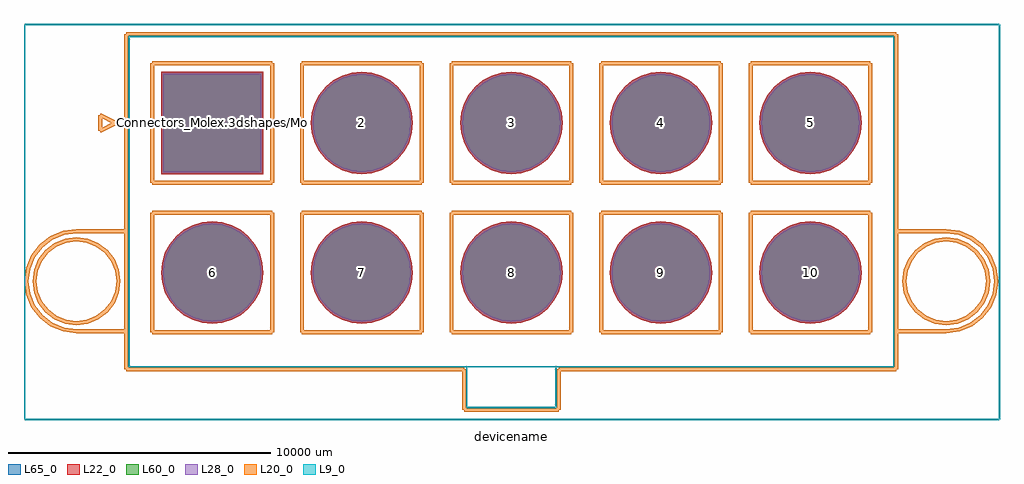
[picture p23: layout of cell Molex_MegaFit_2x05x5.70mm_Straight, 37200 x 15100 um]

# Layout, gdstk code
import gdstk
lib = gdstk.Library(unit=1e-6, precision=1e-09)
def R(c, l, rs):  # rectangles x0, y0, x1, y1
    for r in rs: c.add(gdstk.rectangle(r[:2], r[2:], *l))
def P(c, l, *ps):  # polygons
    for p in ps: c.add(gdstk.Polygon(p, *l))
L9_0 = (9, 0)
L20_0 = (20, 0)
L22_0 = (22, 0)
L28_0 = (28, 0)
L60_0 = (60, 0)
L65_0 = (65, 0)

molex_megafit_2x05x5_70m = lib.new_cell('Molex_MegaFit_2x05x5.70mm_Straight')
R(molex_megafit_2x05x5_70m, L22_0, [(-1950,-1950,1950,1950)])
P(molex_megafit_2x05x5_70m, L22_0, [(24750,-5700),(24712.531,-5319.574),(24601.565,-4953.767),(24421.366,-4616.638),(24178.858,-4321.142),(23883.362,-4078.634),(23546.233,-3898.435),(23180.426,-3787.469),(22800,-3750),(22419.574,-3787.469),(22053.767,-3898.435),(21716.638,-4078.634),(21421.142,-4321.142),(21178.634,-4616.638),(20998.435,-4953.767),(20887.469,-5319.574),(20850,-5700),(20887.469,-6080.426),(20998.435,-6446.233),(21178.634,-6783.362),(21421.142,-7078.858),(21716.638,-7321.366),(22053.767,-7501.565),(22419.574,-7612.531),(22800,-7650),(23180.426,-7612.531),(23546.233,-7501.565),(23883.362,-7321.366),(24178.858,-7078.858),(24421.366,-6783.362),(24601.565,-6446.233),(24712.531,-6080.426)],
  [(19050,-5700),(19012.531,-5319.574),(18901.565,-4953.767),(18721.366,-4616.638),(18478.858,-4321.142),(18183.362,-4078.634),(17846.233,-3898.435),(17480.426,-3787.469),(17100,-3750),(16719.574,-3787.469),(16353.767,-3898.435),(16016.638,-4078.634),(15721.142,-4321.142),(15478.634,-4616.638),(15298.435,-4953.767),(15187.469,-5319.574),(15150,-5700),(15187.469,-6080.426),(15298.435,-6446.233),(15478.634,-6783.362),(15721.142,-7078.858),(16016.638,-7321.366),(16353.767,-7501.565),(16719.574,-7612.531),(17100,-7650),(17480.426,-7612.531),(17846.233,-7501.565),(18183.362,-7321.366),(18478.858,-7078.858),(18721.366,-6783.362),(18901.565,-6446.233),(19012.531,-6080.426)],
  [(13350,-5700),(13312.531,-5319.574),(13201.565,-4953.767),(13021.366,-4616.638),(12778.858,-4321.142),(12483.362,-4078.634),(12146.233,-3898.435),(11780.426,-3787.469),(11400,-3750),(11019.574,-3787.469),(10653.767,-3898.435),(10316.638,-4078.634),(10021.142,-4321.142),(9778.634,-4616.638),(9598.435,-4953.767),(9487.469,-5319.574),(9450,-5700),(9487.469,-6080.426),(9598.435,-6446.233),(9778.634,-6783.362),(10021.142,-7078.858),(10316.638,-7321.366),(10653.767,-7501.565),(11019.574,-7612.531),(11400,-7650),(11780.426,-7612.531),(12146.233,-7501.565),(12483.362,-7321.366),(12778.858,-7078.858),(13021.366,-6783.362),(13201.565,-6446.233),(13312.531,-6080.426)],
  [(7650,-5700),(7612.531,-5319.574),(7501.565,-4953.767),(7321.366,-4616.638),(7078.858,-4321.142),(6783.362,-4078.634),(6446.233,-3898.435),(6080.426,-3787.469),(5700,-3750),(5319.574,-3787.469),(4953.767,-3898.435),(4616.638,-4078.634),(4321.142,-4321.142),(4078.634,-4616.638),(3898.435,-4953.767),(3787.469,-5319.574),(3750,-5700),(3787.469,-6080.426),(3898.435,-6446.233),(4078.634,-6783.362),(4321.142,-7078.858),(4616.638,-7321.366),(4953.767,-7501.565),(5319.574,-7612.531),(5700,-7650),(6080.426,-7612.531),(6446.233,-7501.565),(6783.362,-7321.366),(7078.858,-7078.858),(7321.366,-6783.362),(7501.565,-6446.233),(7612.531,-6080.426)],
  [(1950,-5700),(1912.531,-5319.574),(1801.565,-4953.767),(1621.366,-4616.638),(1378.858,-4321.142),(1083.362,-4078.634),(746.233,-3898.435),(380.426,-3787.469),(0,-3750),(-380.426,-3787.469),(-746.233,-3898.435),(-1083.362,-4078.634),(-1378.858,-4321.142),(-1621.366,-4616.638),(-1801.565,-4953.767),(-1912.531,-5319.574),(-1950,-5700),(-1912.531,-6080.426),(-1801.565,-6446.233),(-1621.366,-6783.362),(-1378.858,-7078.858),(-1083.362,-7321.366),(-746.233,-7501.565),(-380.426,-7612.531),(0,-7650),(380.426,-7612.531),(746.233,-7501.565),(1083.362,-7321.366),(1378.858,-7078.858),(1621.366,-6783.362),(1801.565,-6446.233),(1912.531,-6080.426)],
  [(24750,0),(24712.531,380.426),(24601.565,746.233),(24421.366,1083.362),(24178.858,1378.858),(23883.362,1621.366),(23546.233,1801.565),(23180.426,1912.531),(22800,1950),(22419.574,1912.531),(22053.767,1801.565),(21716.638,1621.366),(21421.142,1378.858),(21178.634,1083.362),(20998.435,746.233),(20887.469,380.426),(20850,0),(20887.469,-380.426),(20998.435,-746.233),(21178.634,-1083.362),(21421.142,-1378.858),(21716.638,-1621.366),(22053.767,-1801.565),(22419.574,-1912.531),(22800,-1950),(23180.426,-1912.531),(23546.233,-1801.565),(23883.362,-1621.366),(24178.858,-1378.858),(24421.366,-1083.362),(24601.565,-746.233),(24712.531,-380.426)],
  [(19050,0),(19012.531,380.426),(18901.565,746.233),(18721.366,1083.362),(18478.858,1378.858),(18183.362,1621.366),(17846.233,1801.565),(17480.426,1912.531),(17100,1950),(16719.574,1912.531),(16353.767,1801.565),(16016.638,1621.366),(15721.142,1378.858),(15478.634,1083.362),(15298.435,746.233),(15187.469,380.426),(15150,0),(15187.469,-380.426),(15298.435,-746.233),(15478.634,-1083.362),(15721.142,-1378.858),(16016.638,-1621.366),(16353.767,-1801.565),(16719.574,-1912.531),(17100,-1950),(17480.426,-1912.531),(17846.233,-1801.565),(18183.362,-1621.366),(18478.858,-1378.858),(18721.366,-1083.362),(18901.565,-746.233),(19012.531,-380.426)],
  [(13350,0),(13312.531,380.426),(13201.565,746.233),(13021.366,1083.362),(12778.858,1378.858),(12483.362,1621.366),(12146.233,1801.565),(11780.426,1912.531),(11400,1950),(11019.574,1912.531),(10653.767,1801.565),(10316.638,1621.366),(10021.142,1378.858),(9778.634,1083.362),(9598.435,746.233),(9487.469,380.426),(9450,0),(9487.469,-380.426),(9598.435,-746.233),(9778.634,-1083.362),(10021.142,-1378.858),(10316.638,-1621.366),(10653.767,-1801.565),(11019.574,-1912.531),(11400,-1950),(11780.426,-1912.531),(12146.233,-1801.565),(12483.362,-1621.366),(12778.858,-1378.858),(13021.366,-1083.362),(13201.565,-746.233),(13312.531,-380.426)],
  [(7650,0),(7612.531,380.426),(7501.565,746.233),(7321.366,1083.362),(7078.858,1378.858),(6783.362,1621.366),(6446.233,1801.565),(6080.426,1912.531),(5700,1950),(5319.574,1912.531),(4953.767,1801.565),(4616.638,1621.366),(4321.142,1378.858),(4078.634,1083.362),(3898.435,746.233),(3787.469,380.426),(3750,0),(3787.469,-380.426),(3898.435,-746.233),(4078.634,-1083.362),(4321.142,-1378.858),(4616.638,-1621.366),(4953.767,-1801.565),(5319.574,-1912.531),(5700,-1950),(6080.426,-1912.531),(6446.233,-1801.565),(6783.362,-1621.366),(7078.858,-1378.858),(7321.366,-1083.362),(7501.565,-746.233),(7612.531,-380.426)])
R(molex_megafit_2x05x5_70m, L28_0, [(-1875,-1875,1875,1875)])
P(molex_megafit_2x05x5_70m, L28_0, [(24675,-5700),(24638.972,-5334.206),(24532.274,-4982.469),(24359.006,-4658.306),(24125.825,-4374.175),(23841.694,-4140.994),(23517.531,-3967.726),(23165.794,-3861.028),(22800,-3825),(22434.206,-3861.028),(22082.469,-3967.726),(21758.306,-4140.994),(21474.175,-4374.175),(21240.994,-4658.306),(21067.726,-4982.469),(20961.028,-5334.206),(20925,-5700),(20961.028,-6065.794),(21067.726,-6417.531),(21240.994,-6741.694),(21474.175,-7025.825),(21758.306,-7259.006),(22082.469,-7432.274),(22434.206,-7538.972),(22800,-7575),(23165.794,-7538.972),(23517.531,-7432.274),(23841.694,-7259.006),(24125.825,-7025.825),(24359.006,-6741.694),(24532.274,-6417.531),(24638.972,-6065.794)],
  [(18975,-5700),(18938.972,-5334.206),(18832.274,-4982.469),(18659.006,-4658.306),(18425.825,-4374.175),(18141.694,-4140.994),(17817.531,-3967.726),(17465.794,-3861.028),(17100,-3825),(16734.206,-3861.028),(16382.469,-3967.726),(16058.306,-4140.994),(15774.175,-4374.175),(15540.994,-4658.306),(15367.726,-4982.469),(15261.028,-5334.206),(15225,-5700),(15261.028,-6065.794),(15367.726,-6417.531),(15540.994,-6741.694),(15774.175,-7025.825),(16058.306,-7259.006),(16382.469,-7432.274),(16734.206,-7538.972),(17100,-7575),(17465.794,-7538.972),(17817.531,-7432.274),(18141.694,-7259.006),(18425.825,-7025.825),(18659.006,-6741.694),(18832.274,-6417.531),(18938.972,-6065.794)],
  [(13275,-5700),(13238.972,-5334.206),(13132.274,-4982.469),(12959.006,-4658.306),(12725.825,-4374.175),(12441.694,-4140.994),(12117.531,-3967.726),(11765.794,-3861.028),(11400,-3825),(11034.206,-3861.028),(10682.469,-3967.726),(10358.306,-4140.994),(10074.175,-4374.175),(9840.994,-4658.306),(9667.726,-4982.469),(9561.028,-5334.206),(9525,-5700),(9561.028,-6065.794),(9667.726,-6417.531),(9840.994,-6741.694),(10074.175,-7025.825),(10358.306,-7259.006),(10682.469,-7432.274),(11034.206,-7538.972),(11400,-7575),(11765.794,-7538.972),(12117.531,-7432.274),(12441.694,-7259.006),(12725.825,-7025.825),(12959.006,-6741.694),(13132.274,-6417.531),(13238.972,-6065.794)],
  [(7575,-5700),(7538.972,-5334.206),(7432.274,-4982.469),(7259.006,-4658.306),(7025.825,-4374.175),(6741.694,-4140.994),(6417.531,-3967.726),(6065.794,-3861.028),(5700,-3825),(5334.206,-3861.028),(4982.469,-3967.726),(4658.306,-4140.994),(4374.175,-4374.175),(4140.994,-4658.306),(3967.726,-4982.469),(3861.028,-5334.206),(3825,-5700),(3861.028,-6065.794),(3967.726,-6417.531),(4140.994,-6741.694),(4374.175,-7025.825),(4658.306,-7259.006),(4982.469,-7432.274),(5334.206,-7538.972),(5700,-7575),(6065.794,-7538.972),(6417.531,-7432.274),(6741.694,-7259.006),(7025.825,-7025.825),(7259.006,-6741.694),(7432.274,-6417.531),(7538.972,-6065.794)],
  [(1875,-5700),(1838.972,-5334.206),(1732.274,-4982.469),(1559.006,-4658.306),(1325.825,-4374.175),(1041.694,-4140.994),(717.531,-3967.726),(365.794,-3861.028),(0,-3825),(-365.794,-3861.028),(-717.531,-3967.726),(-1041.694,-4140.994),(-1325.825,-4374.175),(-1559.006,-4658.306),(-1732.274,-4982.469),(-1838.972,-5334.206),(-1875,-5700),(-1838.972,-6065.794),(-1732.274,-6417.531),(-1559.006,-6741.694),(-1325.825,-7025.825),(-1041.694,-7259.006),(-717.531,-7432.274),(-365.794,-7538.972),(0,-7575),(365.794,-7538.972),(717.531,-7432.274),(1041.694,-7259.006),(1325.825,-7025.825),(1559.006,-6741.694),(1732.274,-6417.531),(1838.972,-6065.794)],
  [(24675,0),(24638.972,365.794),(24532.274,717.531),(24359.006,1041.694),(24125.825,1325.825),(23841.694,1559.006),(23517.531,1732.274),(23165.794,1838.972),(22800,1875),(22434.206,1838.972),(22082.469,1732.274),(21758.306,1559.006),(21474.175,1325.825),(21240.994,1041.694),(21067.726,717.531),(20961.028,365.794),(20925,0),(20961.028,-365.794),(21067.726,-717.531),(21240.994,-1041.694),(21474.175,-1325.825),(21758.306,-1559.006),(22082.469,-1732.274),(22434.206,-1838.972),(22800,-1875),(23165.794,-1838.972),(23517.531,-1732.274),(23841.694,-1559.006),(24125.825,-1325.825),(24359.006,-1041.694),(24532.274,-717.531),(24638.972,-365.794)],
  [(18975,0),(18938.972,365.794),(18832.274,717.531),(18659.006,1041.694),(18425.825,1325.825),(18141.694,1559.006),(17817.531,1732.274),(17465.794,1838.972),(17100,1875),(16734.206,1838.972),(16382.469,1732.274),(16058.306,1559.006),(15774.175,1325.825),(15540.994,1041.694),(15367.726,717.531),(15261.028,365.794),(15225,0),(15261.028,-365.794),(15367.726,-717.531),(15540.994,-1041.694),(15774.175,-1325.825),(16058.306,-1559.006),(16382.469,-1732.274),(16734.206,-1838.972),(17100,-1875),(17465.794,-1838.972),(17817.531,-1732.274),(18141.694,-1559.006),(18425.825,-1325.825),(18659.006,-1041.694),(18832.274,-717.531),(18938.972,-365.794)],
  [(13275,0),(13238.972,365.794),(13132.274,717.531),(12959.006,1041.694),(12725.825,1325.825),(12441.694,1559.006),(12117.531,1732.274),(11765.794,1838.972),(11400,1875),(11034.206,1838.972),(10682.469,1732.274),(10358.306,1559.006),(10074.175,1325.825),(9840.994,1041.694),(9667.726,717.531),(9561.028,365.794),(9525,0),(9561.028,-365.794),(9667.726,-717.531),(9840.994,-1041.694),(10074.175,-1325.825),(10358.306,-1559.006),(10682.469,-1732.274),(11034.206,-1838.972),(11400,-1875),(11765.794,-1838.972),(12117.531,-1732.274),(12441.694,-1559.006),(12725.825,-1325.825),(12959.006,-1041.694),(13132.274,-717.531),(13238.972,-365.794)],
  [(7575,0),(7538.972,365.794),(7432.274,717.531),(7259.006,1041.694),(7025.825,1325.825),(6741.694,1559.006),(6417.531,1732.274),(6065.794,1838.972),(5700,1875),(5334.206,1838.972),(4982.469,1732.274),(4658.306,1559.006),(4374.175,1325.825),(4140.994,1041.694),(3967.726,717.531),(3861.028,365.794),(3825,0),(3861.028,-365.794),(3967.726,-717.531),(4140.994,-1041.694),(4374.175,-1325.825),(4658.306,-1559.006),(4982.469,-1732.274),(5334.206,-1838.972),(5700,-1875),(6065.794,-1838.972),(6417.531,-1732.274),(6741.694,-1559.006),(7025.825,-1325.825),(7259.006,-1041.694),(7432.274,-717.531),(7538.972,-365.794)])
R(molex_megafit_2x05x5_70m, L60_0, [(-1875,-1875,1875,1875)])
P(molex_megafit_2x05x5_70m, L60_0, [(24675,-5700),(24638.972,-5334.206),(24532.274,-4982.469),(24359.006,-4658.306),(24125.825,-4374.175),(23841.694,-4140.994),(23517.531,-3967.726),(23165.794,-3861.028),(22800,-3825),(22434.206,-3861.028),(22082.469,-3967.726),(21758.306,-4140.994),(21474.175,-4374.175),(21240.994,-4658.306),(21067.726,-4982.469),(20961.028,-5334.206),(20925,-5700),(20961.028,-6065.794),(21067.726,-6417.531),(21240.994,-6741.694),(21474.175,-7025.825),(21758.306,-7259.006),(22082.469,-7432.274),(22434.206,-7538.972),(22800,-7575),(23165.794,-7538.972),(23517.531,-7432.274),(23841.694,-7259.006),(24125.825,-7025.825),(24359.006,-6741.694),(24532.274,-6417.531),(24638.972,-6065.794)],
  [(18975,-5700),(18938.972,-5334.206),(18832.274,-4982.469),(18659.006,-4658.306),(18425.825,-4374.175),(18141.694,-4140.994),(17817.531,-3967.726),(17465.794,-3861.028),(17100,-3825),(16734.206,-3861.028),(16382.469,-3967.726),(16058.306,-4140.994),(15774.175,-4374.175),(15540.994,-4658.306),(15367.726,-4982.469),(15261.028,-5334.206),(15225,-5700),(15261.028,-6065.794),(15367.726,-6417.531),(15540.994,-6741.694),(15774.175,-7025.825),(16058.306,-7259.006),(16382.469,-7432.274),(16734.206,-7538.972),(17100,-7575),(17465.794,-7538.972),(17817.531,-7432.274),(18141.694,-7259.006),(18425.825,-7025.825),(18659.006,-6741.694),(18832.274,-6417.531),(18938.972,-6065.794)],
  [(13275,-5700),(13238.972,-5334.206),(13132.274,-4982.469),(12959.006,-4658.306),(12725.825,-4374.175),(12441.694,-4140.994),(12117.531,-3967.726),(11765.794,-3861.028),(11400,-3825),(11034.206,-3861.028),(10682.469,-3967.726),(10358.306,-4140.994),(10074.175,-4374.175),(9840.994,-4658.306),(9667.726,-4982.469),(9561.028,-5334.206),(9525,-5700),(9561.028,-6065.794),(9667.726,-6417.531),(9840.994,-6741.694),(10074.175,-7025.825),(10358.306,-7259.006),(10682.469,-7432.274),(11034.206,-7538.972),(11400,-7575),(11765.794,-7538.972),(12117.531,-7432.274),(12441.694,-7259.006),(12725.825,-7025.825),(12959.006,-6741.694),(13132.274,-6417.531),(13238.972,-6065.794)],
  [(7575,-5700),(7538.972,-5334.206),(7432.274,-4982.469),(7259.006,-4658.306),(7025.825,-4374.175),(6741.694,-4140.994),(6417.531,-3967.726),(6065.794,-3861.028),(5700,-3825),(5334.206,-3861.028),(4982.469,-3967.726),(4658.306,-4140.994),(4374.175,-4374.175),(4140.994,-4658.306),(3967.726,-4982.469),(3861.028,-5334.206),(3825,-5700),(3861.028,-6065.794),(3967.726,-6417.531),(4140.994,-6741.694),(4374.175,-7025.825),(4658.306,-7259.006),(4982.469,-7432.274),(5334.206,-7538.972),(5700,-7575),(6065.794,-7538.972),(6417.531,-7432.274),(6741.694,-7259.006),(7025.825,-7025.825),(7259.006,-6741.694),(7432.274,-6417.531),(7538.972,-6065.794)],
  [(1875,-5700),(1838.972,-5334.206),(1732.274,-4982.469),(1559.006,-4658.306),(1325.825,-4374.175),(1041.694,-4140.994),(717.531,-3967.726),(365.794,-3861.028),(0,-3825),(-365.794,-3861.028),(-717.531,-3967.726),(-1041.694,-4140.994),(-1325.825,-4374.175),(-1559.006,-4658.306),(-1732.274,-4982.469),(-1838.972,-5334.206),(-1875,-5700),(-1838.972,-6065.794),(-1732.274,-6417.531),(-1559.006,-6741.694),(-1325.825,-7025.825),(-1041.694,-7259.006),(-717.531,-7432.274),(-365.794,-7538.972),(0,-7575),(365.794,-7538.972),(717.531,-7432.274),(1041.694,-7259.006),(1325.825,-7025.825),(1559.006,-6741.694),(1732.274,-6417.531),(1838.972,-6065.794)],
  [(24675,0),(24638.972,365.794),(24532.274,717.531),(24359.006,1041.694),(24125.825,1325.825),(23841.694,1559.006),(23517.531,1732.274),(23165.794,1838.972),(22800,1875),(22434.206,1838.972),(22082.469,1732.274),(21758.306,1559.006),(21474.175,1325.825),(21240.994,1041.694),(21067.726,717.531),(20961.028,365.794),(20925,0),(20961.028,-365.794),(21067.726,-717.531),(21240.994,-1041.694),(21474.175,-1325.825),(21758.306,-1559.006),(22082.469,-1732.274),(22434.206,-1838.972),(22800,-1875),(23165.794,-1838.972),(23517.531,-1732.274),(23841.694,-1559.006),(24125.825,-1325.825),(24359.006,-1041.694),(24532.274,-717.531),(24638.972,-365.794)],
  [(18975,0),(18938.972,365.794),(18832.274,717.531),(18659.006,1041.694),(18425.825,1325.825),(18141.694,1559.006),(17817.531,1732.274),(17465.794,1838.972),(17100,1875),(16734.206,1838.972),(16382.469,1732.274),(16058.306,1559.006),(15774.175,1325.825),(15540.994,1041.694),(15367.726,717.531),(15261.028,365.794),(15225,0),(15261.028,-365.794),(15367.726,-717.531),(15540.994,-1041.694),(15774.175,-1325.825),(16058.306,-1559.006),(16382.469,-1732.274),(16734.206,-1838.972),(17100,-1875),(17465.794,-1838.972),(17817.531,-1732.274),(18141.694,-1559.006),(18425.825,-1325.825),(18659.006,-1041.694),(18832.274,-717.531),(18938.972,-365.794)],
  [(13275,0),(13238.972,365.794),(13132.274,717.531),(12959.006,1041.694),(12725.825,1325.825),(12441.694,1559.006),(12117.531,1732.274),(11765.794,1838.972),(11400,1875),(11034.206,1838.972),(10682.469,1732.274),(10358.306,1559.006),(10074.175,1325.825),(9840.994,1041.694),(9667.726,717.531),(9561.028,365.794),(9525,0),(9561.028,-365.794),(9667.726,-717.531),(9840.994,-1041.694),(10074.175,-1325.825),(10358.306,-1559.006),(10682.469,-1732.274),(11034.206,-1838.972),(11400,-1875),(11765.794,-1838.972),(12117.531,-1732.274),(12441.694,-1559.006),(12725.825,-1325.825),(12959.006,-1041.694),(13132.274,-717.531),(13238.972,-365.794)],
  [(7575,0),(7538.972,365.794),(7432.274,717.531),(7259.006,1041.694),(7025.825,1325.825),(6741.694,1559.006),(6417.531,1732.274),(6065.794,1838.972),(5700,1875),(5334.206,1838.972),(4982.469,1732.274),(4658.306,1559.006),(4374.175,1325.825),(4140.994,1041.694),(3967.726,717.531),(3861.028,365.794),(3825,0),(3861.028,-365.794),(3967.726,-717.531),(4140.994,-1041.694),(4374.175,-1325.825),(4658.306,-1559.006),(4982.469,-1732.274),(5334.206,-1838.972),(5700,-1875),(6065.794,-1838.972),(6417.531,-1732.274),(6741.694,-1559.006),(7025.825,-1325.825),(7259.006,-1041.694),(7432.274,-717.531),(7538.972,-365.794)])
R(molex_megafit_2x05x5_70m, L65_0, [(-1950,-1950,1950,1950)])
P(molex_megafit_2x05x5_70m, L65_0, [(24750,-5700),(24712.531,-5319.574),(24601.565,-4953.767),(24421.366,-4616.638),(24178.858,-4321.142),(23883.362,-4078.634),(23546.233,-3898.435),(23180.426,-3787.469),(22800,-3750),(22419.574,-3787.469),(22053.767,-3898.435),(21716.638,-4078.634),(21421.142,-4321.142),(21178.634,-4616.638),(20998.435,-4953.767),(20887.469,-5319.574),(20850,-5700),(20887.469,-6080.426),(20998.435,-6446.233),(21178.634,-6783.362),(21421.142,-7078.858),(21716.638,-7321.366),(22053.767,-7501.565),(22419.574,-7612.531),(22800,-7650),(23180.426,-7612.531),(23546.233,-7501.565),(23883.362,-7321.366),(24178.858,-7078.858),(24421.366,-6783.362),(24601.565,-6446.233),(24712.531,-6080.426)],
  [(19050,-5700),(19012.531,-5319.574),(18901.565,-4953.767),(18721.366,-4616.638),(18478.858,-4321.142),(18183.362,-4078.634),(17846.233,-3898.435),(17480.426,-3787.469),(17100,-3750),(16719.574,-3787.469),(16353.767,-3898.435),(16016.638,-4078.634),(15721.142,-4321.142),(15478.634,-4616.638),(15298.435,-4953.767),(15187.469,-5319.574),(15150,-5700),(15187.469,-6080.426),(15298.435,-6446.233),(15478.634,-6783.362),(15721.142,-7078.858),(16016.638,-7321.366),(16353.767,-7501.565),(16719.574,-7612.531),(17100,-7650),(17480.426,-7612.531),(17846.233,-7501.565),(18183.362,-7321.366),(18478.858,-7078.858),(18721.366,-6783.362),(18901.565,-6446.233),(19012.531,-6080.426)],
  [(13350,-5700),(13312.531,-5319.574),(13201.565,-4953.767),(13021.366,-4616.638),(12778.858,-4321.142),(12483.362,-4078.634),(12146.233,-3898.435),(11780.426,-3787.469),(11400,-3750),(11019.574,-3787.469),(10653.767,-3898.435),(10316.638,-4078.634),(10021.142,-4321.142),(9778.634,-4616.638),(9598.435,-4953.767),(9487.469,-5319.574),(9450,-5700),(9487.469,-6080.426),(9598.435,-6446.233),(9778.634,-6783.362),(10021.142,-7078.858),(10316.638,-7321.366),(10653.767,-7501.565),(11019.574,-7612.531),(11400,-7650),(11780.426,-7612.531),(12146.233,-7501.565),(12483.362,-7321.366),(12778.858,-7078.858),(13021.366,-6783.362),(13201.565,-6446.233),(13312.531,-6080.426)],
  [(7650,-5700),(7612.531,-5319.574),(7501.565,-4953.767),(7321.366,-4616.638),(7078.858,-4321.142),(6783.362,-4078.634),(6446.233,-3898.435),(6080.426,-3787.469),(5700,-3750),(5319.574,-3787.469),(4953.767,-3898.435),(4616.638,-4078.634),(4321.142,-4321.142),(4078.634,-4616.638),(3898.435,-4953.767),(3787.469,-5319.574),(3750,-5700),(3787.469,-6080.426),(3898.435,-6446.233),(4078.634,-6783.362),(4321.142,-7078.858),(4616.638,-7321.366),(4953.767,-7501.565),(5319.574,-7612.531),(5700,-7650),(6080.426,-7612.531),(6446.233,-7501.565),(6783.362,-7321.366),(7078.858,-7078.858),(7321.366,-6783.362),(7501.565,-6446.233),(7612.531,-6080.426)],
  [(1950,-5700),(1912.531,-5319.574),(1801.565,-4953.767),(1621.366,-4616.638),(1378.858,-4321.142),(1083.362,-4078.634),(746.233,-3898.435),(380.426,-3787.469),(0,-3750),(-380.426,-3787.469),(-746.233,-3898.435),(-1083.362,-4078.634),(-1378.858,-4321.142),(-1621.366,-4616.638),(-1801.565,-4953.767),(-1912.531,-5319.574),(-1950,-5700),(-1912.531,-6080.426),(-1801.565,-6446.233),(-1621.366,-6783.362),(-1378.858,-7078.858),(-1083.362,-7321.366),(-746.233,-7501.565),(-380.426,-7612.531),(0,-7650),(380.426,-7612.531),(746.233,-7501.565),(1083.362,-7321.366),(1378.858,-7078.858),(1621.366,-6783.362),(1801.565,-6446.233),(1912.531,-6080.426)],
  [(24750,0),(24712.531,380.426),(24601.565,746.233),(24421.366,1083.362),(24178.858,1378.858),(23883.362,1621.366),(23546.233,1801.565),(23180.426,1912.531),(22800,1950),(22419.574,1912.531),(22053.767,1801.565),(21716.638,1621.366),(21421.142,1378.858),(21178.634,1083.362),(20998.435,746.233),(20887.469,380.426),(20850,0),(20887.469,-380.426),(20998.435,-746.233),(21178.634,-1083.362),(21421.142,-1378.858),(21716.638,-1621.366),(22053.767,-1801.565),(22419.574,-1912.531),(22800,-1950),(23180.426,-1912.531),(23546.233,-1801.565),(23883.362,-1621.366),(24178.858,-1378.858),(24421.366,-1083.362),(24601.565,-746.233),(24712.531,-380.426)],
  [(19050,0),(19012.531,380.426),(18901.565,746.233),(18721.366,1083.362),(18478.858,1378.858),(18183.362,1621.366),(17846.233,1801.565),(17480.426,1912.531),(17100,1950),(16719.574,1912.531),(16353.767,1801.565),(16016.638,1621.366),(15721.142,1378.858),(15478.634,1083.362),(15298.435,746.233),(15187.469,380.426),(15150,0),(15187.469,-380.426),(15298.435,-746.233),(15478.634,-1083.362),(15721.142,-1378.858),(16016.638,-1621.366),(16353.767,-1801.565),(16719.574,-1912.531),(17100,-1950),(17480.426,-1912.531),(17846.233,-1801.565),(18183.362,-1621.366),(18478.858,-1378.858),(18721.366,-1083.362),(18901.565,-746.233),(19012.531,-380.426)],
  [(13350,0),(13312.531,380.426),(13201.565,746.233),(13021.366,1083.362),(12778.858,1378.858),(12483.362,1621.366),(12146.233,1801.565),(11780.426,1912.531),(11400,1950),(11019.574,1912.531),(10653.767,1801.565),(10316.638,1621.366),(10021.142,1378.858),(9778.634,1083.362),(9598.435,746.233),(9487.469,380.426),(9450,0),(9487.469,-380.426),(9598.435,-746.233),(9778.634,-1083.362),(10021.142,-1378.858),(10316.638,-1621.366),(10653.767,-1801.565),(11019.574,-1912.531),(11400,-1950),(11780.426,-1912.531),(12146.233,-1801.565),(12483.362,-1621.366),(12778.858,-1378.858),(13021.366,-1083.362),(13201.565,-746.233),(13312.531,-380.426)],
  [(7650,0),(7612.531,380.426),(7501.565,746.233),(7321.366,1083.362),(7078.858,1378.858),(6783.362,1621.366),(6446.233,1801.565),(6080.426,1912.531),(5700,1950),(5319.574,1912.531),(4953.767,1801.565),(4616.638,1621.366),(4321.142,1378.858),(4078.634,1083.362),(3898.435,746.233),(3787.469,380.426),(3750,0),(3787.469,-380.426),(3898.435,-746.233),(4078.634,-1083.362),(4321.142,-1378.858),(4616.638,-1621.366),(4953.767,-1801.565),(5319.574,-1912.531),(5700,-1950),(6080.426,-1912.531),(6446.233,-1801.565),(6783.362,-1621.366),(7078.858,-1378.858),(7321.366,-1083.362),(7501.565,-746.233),(7612.531,-380.426)])
molex_megafit_2x05x5_70m.add(gdstk.FlexPath([(30000,3750),(-7150,3750)], 50, ends="flush", simple_path=True, layer=9, datatype=0))  # L9_0
molex_megafit_2x05x5_70m.add(gdstk.FlexPath([(30000,-11300),(30000,3750)], 50, ends="flush", simple_path=True, layer=9, datatype=0))  # L9_0
molex_megafit_2x05x5_70m.add(gdstk.FlexPath([(-7150,-11300),(30000,-11300)], 50, ends="flush", simple_path=True, layer=9, datatype=0))  # L9_0
molex_megafit_2x05x5_70m.add(gdstk.FlexPath([(-7150,3750),(-7150,-11300)], 50, ends="flush", simple_path=True, layer=9, datatype=0))  # L9_0
molex_megafit_2x05x5_70m.add(gdstk.FlexPath([(-4275,300),(-3675,0)], 149.998, ends="flush", simple_path=True, layer=20, datatype=0))  # L20_0
molex_megafit_2x05x5_70m.add(gdstk.FlexPath([(-4275,-300),(-4275,300)], 149.998, ends="flush", simple_path=True, layer=20, datatype=0))  # L20_0
molex_megafit_2x05x5_70m.add(gdstk.FlexPath([(-3675,0),(-4275,-300)], 149.998, ends="flush", simple_path=True, layer=20, datatype=0))  # L20_0
molex_megafit_2x05x5_70m.add(gdstk.FlexPath([(25080,-3420),(20520,-3420)], 149.998, ends="flush", simple_path=True, layer=20, datatype=0))  # L20_0
molex_megafit_2x05x5_70m.add(gdstk.FlexPath([(25080,-7980),(25080,-3420)], 149.998, ends="flush", simple_path=True, layer=20, datatype=0))  # L20_0
molex_megafit_2x05x5_70m.add(gdstk.FlexPath([(20520,-7980),(25080,-7980)], 149.998, ends="flush", simple_path=True, layer=20, datatype=0))  # L20_0
molex_megafit_2x05x5_70m.add(gdstk.FlexPath([(20520,-3420),(20520,-7980)], 149.998, ends="flush", simple_path=True, layer=20, datatype=0))  # L20_0
molex_megafit_2x05x5_70m.add(gdstk.FlexPath([(25080,2280),(20520,2280)], 149.998, ends="flush", simple_path=True, layer=20, datatype=0))  # L20_0
molex_megafit_2x05x5_70m.add(gdstk.FlexPath([(25080,-2280),(25080,2280)], 149.998, ends="flush", simple_path=True, layer=20, datatype=0))  # L20_0
molex_megafit_2x05x5_70m.add(gdstk.FlexPath([(20520,-2280),(25080,-2280)], 149.998, ends="flush", simple_path=True, layer=20, datatype=0))  # L20_0
molex_megafit_2x05x5_70m.add(gdstk.FlexPath([(20520,2280),(20520,-2280)], 149.998, ends="flush", simple_path=True, layer=20, datatype=0))  # L20_0
molex_megafit_2x05x5_70m.add(gdstk.FlexPath([(19380,-3420),(14820,-3420)], 149.998, ends="flush", simple_path=True, layer=20, datatype=0))  # L20_0
molex_megafit_2x05x5_70m.add(gdstk.FlexPath([(19380,-7980),(19380,-3420)], 149.998, ends="flush", simple_path=True, layer=20, datatype=0))  # L20_0
molex_megafit_2x05x5_70m.add(gdstk.FlexPath([(14820,-7980),(19380,-7980)], 149.998, ends="flush", simple_path=True, layer=20, datatype=0))  # L20_0
molex_megafit_2x05x5_70m.add(gdstk.FlexPath([(14820,-3420),(14820,-7980)], 149.998, ends="flush", simple_path=True, layer=20, datatype=0))  # L20_0
molex_megafit_2x05x5_70m.add(gdstk.FlexPath([(19380,2280),(14820,2280)], 149.998, ends="flush", simple_path=True, layer=20, datatype=0))  # L20_0
molex_megafit_2x05x5_70m.add(gdstk.FlexPath([(19380,-2280),(19380,2280)], 149.998, ends="flush", simple_path=True, layer=20, datatype=0))  # L20_0
molex_megafit_2x05x5_70m.add(gdstk.FlexPath([(14820,-2280),(19380,-2280)], 149.998, ends="flush", simple_path=True, layer=20, datatype=0))  # L20_0
molex_megafit_2x05x5_70m.add(gdstk.FlexPath([(14820,2280),(14820,-2280)], 149.998, ends="flush", simple_path=True, layer=20, datatype=0))  # L20_0
molex_megafit_2x05x5_70m.add(gdstk.FlexPath([(13680,-3420),(9120,-3420)], 149.998, ends="flush", simple_path=True, layer=20, datatype=0))  # L20_0
molex_megafit_2x05x5_70m.add(gdstk.FlexPath([(13680,-7980),(13680,-3420)], 149.998, ends="flush", simple_path=True, layer=20, datatype=0))  # L20_0
molex_megafit_2x05x5_70m.add(gdstk.FlexPath([(9120,-7980),(13680,-7980)], 149.998, ends="flush", simple_path=True, layer=20, datatype=0))  # L20_0
molex_megafit_2x05x5_70m.add(gdstk.FlexPath([(9120,-3420),(9120,-7980)], 149.998, ends="flush", simple_path=True, layer=20, datatype=0))  # L20_0
molex_megafit_2x05x5_70m.add(gdstk.FlexPath([(13680,2280),(9120,2280)], 149.998, ends="flush", simple_path=True, layer=20, datatype=0))  # L20_0
molex_megafit_2x05x5_70m.add(gdstk.FlexPath([(13680,-2280),(13680,2280)], 149.998, ends="flush", simple_path=True, layer=20, datatype=0))  # L20_0
molex_megafit_2x05x5_70m.add(gdstk.FlexPath([(9120,-2280),(13680,-2280)], 149.998, ends="flush", simple_path=True, layer=20, datatype=0))  # L20_0
molex_megafit_2x05x5_70m.add(gdstk.FlexPath([(9120,2280),(9120,-2280)], 149.998, ends="flush", simple_path=True, layer=20, datatype=0))  # L20_0
molex_megafit_2x05x5_70m.add(gdstk.FlexPath([(7980,-3420),(3420,-3420)], 149.998, ends="flush", simple_path=True, layer=20, datatype=0))  # L20_0
molex_megafit_2x05x5_70m.add(gdstk.FlexPath([(7980,-7980),(7980,-3420)], 149.998, ends="flush", simple_path=True, layer=20, datatype=0))  # L20_0
molex_megafit_2x05x5_70m.add(gdstk.FlexPath([(3420,-7980),(7980,-7980)], 149.998, ends="flush", simple_path=True, layer=20, datatype=0))  # L20_0
molex_megafit_2x05x5_70m.add(gdstk.FlexPath([(3420,-3420),(3420,-7980)], 149.998, ends="flush", simple_path=True, layer=20, datatype=0))  # L20_0
molex_megafit_2x05x5_70m.add(gdstk.FlexPath([(7980,2280),(3420,2280)], 149.998, ends="flush", simple_path=True, layer=20, datatype=0))  # L20_0
molex_megafit_2x05x5_70m.add(gdstk.FlexPath([(7980,-2280),(7980,2280)], 149.998, ends="flush", simple_path=True, layer=20, datatype=0))  # L20_0
molex_megafit_2x05x5_70m.add(gdstk.FlexPath([(3420,-2280),(7980,-2280)], 149.998, ends="flush", simple_path=True, layer=20, datatype=0))  # L20_0
molex_megafit_2x05x5_70m.add(gdstk.FlexPath([(3420,2280),(3420,-2280)], 149.998, ends="flush", simple_path=True, layer=20, datatype=0))  # L20_0
molex_megafit_2x05x5_70m.add(gdstk.FlexPath([(2280,-3420),(-2280,-3420)], 149.998, ends="flush", simple_path=True, layer=20, datatype=0))  # L20_0
molex_megafit_2x05x5_70m.add(gdstk.FlexPath([(2280,-7980),(2280,-3420)], 149.998, ends="flush", simple_path=True, layer=20, datatype=0))  # L20_0
molex_megafit_2x05x5_70m.add(gdstk.FlexPath([(-2280,-7980),(2280,-7980)], 149.998, ends="flush", simple_path=True, layer=20, datatype=0))  # L20_0
molex_megafit_2x05x5_70m.add(gdstk.FlexPath([(-2280,-3420),(-2280,-7980)], 149.998, ends="flush", simple_path=True, layer=20, datatype=0))  # L20_0
molex_megafit_2x05x5_70m.add(gdstk.FlexPath([(2280,2280),(-2280,2280)], 149.998, ends="flush", simple_path=True, layer=20, datatype=0))  # L20_0
molex_megafit_2x05x5_70m.add(gdstk.FlexPath([(2280,-2280),(2280,2280)], 149.998, ends="flush", simple_path=True, layer=20, datatype=0))  # L20_0
molex_megafit_2x05x5_70m.add(gdstk.FlexPath([(-2280,-2280),(2280,-2280)], 149.998, ends="flush", simple_path=True, layer=20, datatype=0))  # L20_0
molex_megafit_2x05x5_70m.add(gdstk.FlexPath([(-2280,2280),(-2280,-2280)], 149.998, ends="flush", simple_path=True, layer=20, datatype=0))  # L20_0
molex_megafit_2x05x5_70m.add(gdstk.FlexPath([(27975,-7936.25),(26075,-7936.25)], 149.998, ends="flush", simple_path=True, layer=20, datatype=0))  # L20_0
molex_megafit_2x05x5_70m.add(gdstk.FlexPath([(27975,-4123.75),(26075,-4123.75)], 149.998, ends="flush", simple_path=True, layer=20, datatype=0))  # L20_0
molex_megafit_2x05x5_70m.add(gdstk.FlexPath([(-5175,-7936.25),(-3275,-7936.25)], 149.998, ends="flush", simple_path=True, layer=20, datatype=0))  # L20_0
molex_megafit_2x05x5_70m.add(gdstk.FlexPath([(-5175,-4123.75),(-3275,-4123.75)], 149.998, ends="flush", simple_path=True, layer=20, datatype=0))  # L20_0
molex_megafit_2x05x5_70m.add(gdstk.FlexPath([(13200,-10940),(11400,-10940)], 149.998, ends="flush", simple_path=True, layer=20, datatype=0))  # L20_0
molex_megafit_2x05x5_70m.add(gdstk.FlexPath([(13200,-9390),(13200,-10940)], 149.998, ends="flush", simple_path=True, layer=20, datatype=0))  # L20_0
molex_megafit_2x05x5_70m.add(gdstk.FlexPath([(26075,-9390),(13200,-9390)], 149.998, ends="flush", simple_path=True, layer=20, datatype=0))  # L20_0
molex_megafit_2x05x5_70m.add(gdstk.FlexPath([(26075,3390),(26075,-9390)], 149.998, ends="flush", simple_path=True, layer=20, datatype=0))  # L20_0
molex_megafit_2x05x5_70m.add(gdstk.FlexPath([(11400,3390),(26075,3390)], 149.998, ends="flush", simple_path=True, layer=20, datatype=0))  # L20_0
molex_megafit_2x05x5_70m.add(gdstk.FlexPath([(9600,-10940),(11400,-10940)], 149.998, ends="flush", simple_path=True, layer=20, datatype=0))  # L20_0
molex_megafit_2x05x5_70m.add(gdstk.FlexPath([(9600,-9390),(9600,-10940)], 149.998, ends="flush", simple_path=True, layer=20, datatype=0))  # L20_0
molex_megafit_2x05x5_70m.add(gdstk.FlexPath([(-3275,-9390),(9600,-9390)], 149.998, ends="flush", simple_path=True, layer=20, datatype=0))  # L20_0
molex_megafit_2x05x5_70m.add(gdstk.FlexPath([(-3275,3390),(-3275,-9390)], 149.998, ends="flush", simple_path=True, layer=20, datatype=0))  # L20_0
molex_megafit_2x05x5_70m.add(gdstk.FlexPath([(11400,3390),(-3275,3390)], 149.998, ends="flush", simple_path=True, layer=20, datatype=0))  # L20_0
molex_megafit_2x05x5_70m.add(gdstk.FlexPath([(13100,-10840),(13100,-9290)], 50, ends="flush", simple_path=True, layer=9, datatype=0))  # L9_0
molex_megafit_2x05x5_70m.add(gdstk.FlexPath([(9700,-10840),(13100,-10840)], 50, ends="flush", simple_path=True, layer=9, datatype=0))  # L9_0
molex_megafit_2x05x5_70m.add(gdstk.FlexPath([(9700,-9290),(9700,-10840)], 50, ends="flush", simple_path=True, layer=9, datatype=0))  # L9_0
molex_megafit_2x05x5_70m.add(gdstk.FlexPath([(25975,3290),(-3175,3290)], 50, ends="flush", simple_path=True, layer=9, datatype=0))  # L9_0
molex_megafit_2x05x5_70m.add(gdstk.FlexPath([(25975,-9290),(25975,3290)], 50, ends="flush", simple_path=True, layer=9, datatype=0))  # L9_0
molex_megafit_2x05x5_70m.add(gdstk.FlexPath([(-3175,-9290),(25975,-9290)], 50, ends="flush", simple_path=True, layer=9, datatype=0))  # L9_0
molex_megafit_2x05x5_70m.add(gdstk.FlexPath([(-3175,3290),(-3175,-9290)], 50, ends="flush", simple_path=True, layer=9, datatype=0))  # L9_0
molex_megafit_2x05x5_70m.add(gdstk.FlexPath([(29575,-6030),(29520.481,-5615.89),(29360.641,-5230),(29106.371,-4898.629),(28775,-4644.359),(28389.11,-4484.519),(27975,-4430),(27560.89,-4484.519),(27175,-4644.359),(26843.629,-4898.629),(26589.359,-5230),(26429.519,-5615.89),(26375,-6030),(26429.519,-6444.11),(26589.359,-6830),(26843.629,-7161.371),(27175,-7415.641),(27560.89,-7575.481),(27975,-7630),(28389.11,-7575.481),(28775,-7415.641),(29106.371,-7161.371),(29360.641,-6830),(29520.481,-6444.11),(29575,-6030)], 149.998, ends="flush", simple_path=True, layer=20, datatype=0))  # L20_0
molex_megafit_2x05x5_70m.add(gdstk.FlexPath([(-3575,-6030),(-3629.519,-5615.89),(-3789.359,-5230),(-4043.629,-4898.629),(-4375,-4644.359),(-4760.89,-4484.519),(-5175,-4430),(-5589.11,-4484.519),(-5975,-4644.359),(-6306.371,-4898.629),(-6560.641,-5230),(-6720.481,-5615.89),(-6775,-6030),(-6720.481,-6444.11),(-6560.641,-6830),(-6306.371,-7161.371),(-5975,-7415.641),(-5589.11,-7575.481),(-5175,-7630),(-4760.89,-7575.481),(-4375,-7415.641),(-4043.629,-7161.371),(-3789.359,-6830),(-3629.519,-6444.11),(-3575,-6030)], 149.998, ends="flush", simple_path=True, layer=20, datatype=0))  # L20_0
molex_megafit_2x05x5_70m.add(gdstk.FlexPath([(27975,-7936.25),(28468.374,-7871.296),(28928.125,-7680.861),(29322.922,-7377.922),(29625.861,-6983.125),(29816.296,-6523.374),(29881.25,-6030),(29816.296,-5536.626),(29625.861,-5076.875),(29322.922,-4682.078),(28928.125,-4379.139),(28468.374,-4188.704),(27975,-4123.75)], 149.998, ends="flush", simple_path=True, layer=20, datatype=0))  # L20_0
molex_megafit_2x05x5_70m.add(gdstk.FlexPath([(-5175,-4123.75),(-5668.374,-4188.704),(-6128.125,-4379.139),(-6522.922,-4682.078),(-6825.861,-5076.875),(-7016.296,-5536.626),(-7081.25,-6030),(-7016.296,-6523.374),(-6825.861,-6983.125),(-6522.922,-7377.922),(-6128.125,-7680.861),(-5668.374,-7871.296),(-5175,-7936.25)], 149.998, ends="flush", simple_path=True, layer=20, datatype=0))  # L20_0
molex_megafit_2x05x5_70m.add(gdstk.Label('Connectors_Molex.3dshapes/Molex_MegaFit_2x05x5.70mm_Straight.wrl', (0,0), layer=12, texttype=0))
molex_megafit_2x05x5_70m.add(gdstk.Label('10', (22800,-5700), layer=28, texttype=0))
molex_megafit_2x05x5_70m.add(gdstk.Label('9', (17100,-5700), layer=28, texttype=0))
molex_megafit_2x05x5_70m.add(gdstk.Label('8', (11400,-5700), layer=28, texttype=0))
molex_megafit_2x05x5_70m.add(gdstk.Label('7', (5700,-5700), layer=28, texttype=0))
molex_megafit_2x05x5_70m.add(gdstk.Label('6', (0,-5700), layer=28, texttype=0))
molex_megafit_2x05x5_70m.add(gdstk.Label('5', (22800,0), layer=28, texttype=0))
molex_megafit_2x05x5_70m.add(gdstk.Label('4', (17100,0), layer=28, texttype=0))
molex_megafit_2x05x5_70m.add(gdstk.Label('3', (11400,0), layer=28, texttype=0))
molex_megafit_2x05x5_70m.add(gdstk.Label('2', (5700,0), layer=28, texttype=0))
molex_megafit_2x05x5_70m.add(gdstk.Label('1', (0,0), layer=28, texttype=0))
molex_megafit_2x05x5_70m.add(gdstk.Label('type', (11400,4700), layer=9, texttype=0))
molex_megafit_2x05x5_70m.add(gdstk.Label('devicename', (11400,-12000), layer=9, texttype=0))

lib.write_gds('Molex_MegaFit_2x05x5.70mm_Straight.gds')
